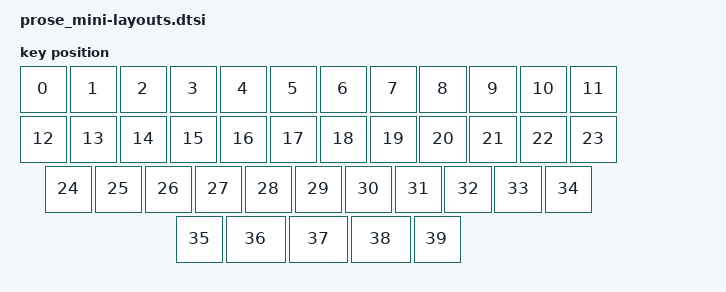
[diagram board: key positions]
#include <physical_layouts.dtsi>

/ {
    physical_layout_prose_mini: physical_layout_prose_mini {
        compatible = "zmk,physical-layout";
        display-name = "Prose Mini";
        keys  //                     w   h    x    y     rot    rx    ry
            = <&key_physical_attrs 100 100    0    0       0     0     0>
            , <&key_physical_attrs 100 100  100    0       0   100     0>
            , <&key_physical_attrs 100 100  200    0       0   200     0>
            , <&key_physical_attrs 100 100  300    0       0   300     0>
            , <&key_physical_attrs 100 100  400    0       0   400     0>
            , <&key_physical_attrs 100 100  500    0       0   500     0>
            , <&key_physical_attrs 100 100  600    0       0   600     0>
            , <&key_physical_attrs 100 100  700    0       0   700     0>
            , <&key_physical_attrs 100 100  800    0       0   800     0>
            , <&key_physical_attrs 100 100  900    0       0   900     0>
            , <&key_physical_attrs 100 100 1000    0       0  1000     0>
            , <&key_physical_attrs 100 100 1100    0       0  1100     0>
            , <&key_physical_attrs 100 100    0  100       0     0   100>
            , <&key_physical_attrs 100 100  100  100       0   100   100>
            , <&key_physical_attrs 100 100  200  100       0   200   100>
            , <&key_physical_attrs 100 100  300  100       0   300   100>
            , <&key_physical_attrs 100 100  400  100       0   400   100>
            , <&key_physical_attrs 100 100  500  100       0   500   100>
            , <&key_physical_attrs 100 100  600  100       0   600   100>
            , <&key_physical_attrs 100 100  700  100       0   700   100>
            , <&key_physical_attrs 100 100  800  100       0   800   100>
            , <&key_physical_attrs 100 100  900  100       0   900   100>
            , <&key_physical_attrs 100 100 1000  100       0  1000   100>
            , <&key_physical_attrs 100 100 1100  100       0  1100   100>
            , <&key_physical_attrs 100 100   50  200       0    50   200>
            , <&key_physical_attrs 100 100  150  200       0   150   200>
            , <&key_physical_attrs 100 100  250  200       0   250   200>
            , <&key_physical_attrs 100 100  350  200       0   350   200>
            , <&key_physical_attrs 100 100  450  200       0   450   200>
            , <&key_physical_attrs 100 100  550  200       0   550   200>
            , <&key_physical_attrs 100 100  650  200       0   650   200>
            , <&key_physical_attrs 100 100  750  200       0   750   200>
            , <&key_physical_attrs 100 100  850  200       0   850   200>
            , <&key_physical_attrs 100 100  950  200       0   950   200>
            , <&key_physical_attrs 100 100 1050  200       0  1050   200>
            , <&key_physical_attrs 100 100  313  300       0   313   300>
            , <&key_physical_attrs 125 100  413  300       0   413   300>
            , <&key_physical_attrs 125 100  538  300       0   538   300>
            , <&key_physical_attrs 125 100  663  300       0   663   300>
            , <&key_physical_attrs 100 100  788  300       0   788   300>
            ;
    };
};
